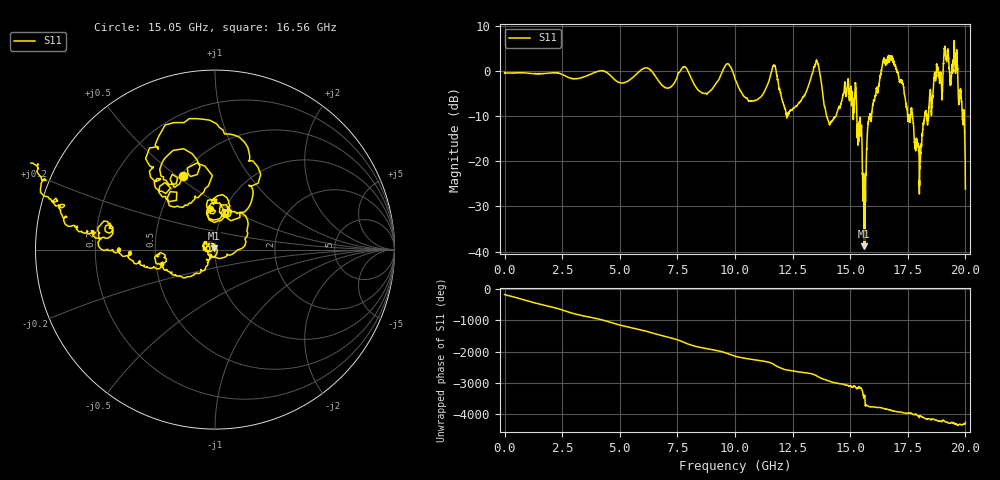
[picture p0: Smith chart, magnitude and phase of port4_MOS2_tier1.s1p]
! Created with skrf 1.8.0 (http://scikit-rf.org).
# GHz S RI R 50.0
!freq ReS11 ImS11
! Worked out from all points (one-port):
!   10001 points, 1 MHz to 20 GHz, reference 50 ohm
!   lowest |S11| = -38.8 dB at 15.61 GHz (marker M1), VSWR 1.02, Z = 49.2 + j0.791 ohm
!   |S11| at or under -10 dB: 13.98 GHz to 14.38 GHz (397.3 MHz wide, 2.8 % of centre); 15.29 GHz to 15.85 GHz (562.5 MHz wide, 3.61 % of centre); 17.7 GHz to 18.23 GHz (528 MHz wide, 2.94 % of centre) (the widest 3 of 16)
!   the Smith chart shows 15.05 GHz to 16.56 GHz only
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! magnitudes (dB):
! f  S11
! 1 MHz  -0.5
! 2.501 GHz  -0.7
! 5.001 GHz  -2.6
! 7.501 GHz  -1.1
! 8.703 GHz  -4.9
! 9.643 GHz  1.6
! 10 GHz  -1.6
! 10.87 GHz  -6.5
! 11.7 GHz  1.2
! 12.2 GHz  -8.8
! 12.5 GHz  -8.5
! 13.52 GHz  2.3
! 14.09 GHz  -11.8
! 15 GHz  -4.9
! 15.42 GHz  -10.5
! 15.61 GHz  -38.8
! 15.81 GHz  -10.7
! 16.47 GHz  2.8
! 16.89 GHz  1.6
! 17.5 GHz  -10.4
! 18.01 GHz  -23.3
! 18.71 GHz  -1.4
! 18.94 GHz  -0.7
! 19.17 GHz  2.7
! 19.37 GHz  -2.7
! 19.58 GHz  0.1
! 19.87 GHz  -10.6
! 20 GHz  -26.2
